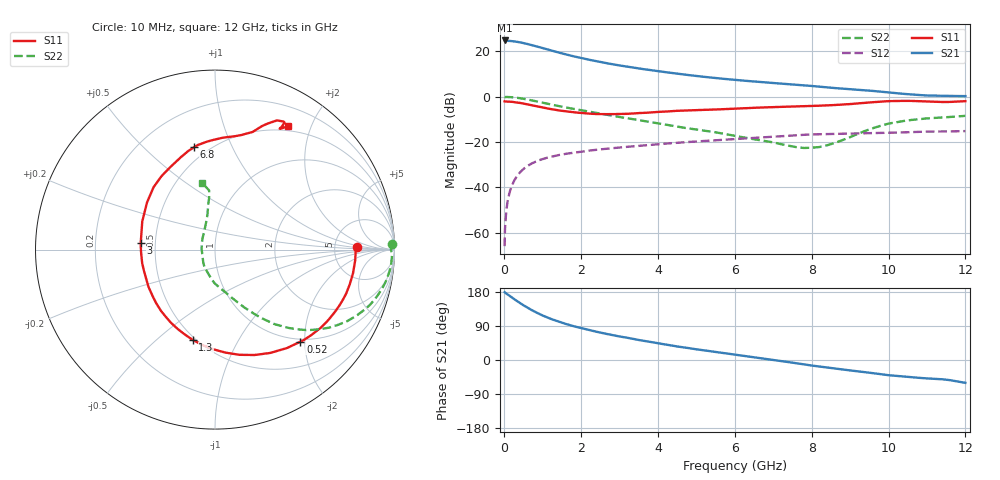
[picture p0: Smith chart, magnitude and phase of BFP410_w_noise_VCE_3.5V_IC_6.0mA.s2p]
! Infineon Technologies  Discrete & RF Semiconductors
! BFP410
! VCE =  3.5 V,  IC =  6.0 mA
! Common Emitter S-Parameters:  Nov 2015
# GHz  S  MA  R  50
!  f  S11  S21  S12  S22
! GHz  MAG  ANG  MAG  ANG  MAG  ANG  MAG  ANG
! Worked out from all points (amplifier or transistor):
!   243 points, 10 MHz to 12 GHz, reference 50 ohm
!   highest |S21| = 24.8 dB at 10 MHz (marker M1)
!   |S21| within 3 dB of that: start of sweep to 923.1 MHz
!   unconditionally stable (mu >= 1): start of sweep to 13.92 MHz; 2.918 GHz to end of sweep
!   at 240 MHz: K = 0.14, MSG = 31.1 dB, |S12| = -37.7 dB
!   at 1.84 GHz: K = 0.69, MSG = 21.2 dB, |S12| = -24.6 dB
!   at 12 GHz: K = 1.06, MAG = 6.2 dB, |S12| = -15.2 dB
!   lowest NFmin = 1.06 dB at 900 MHz
!   S11 on the Smith chart (normalised r, x): 10 MHz: 8.41, +0.67; 520 MHz: 0.95, -1.91; 1.3 GHz: 0.48, -0.66; 3 GHz: 0.41, +0.03; 6.8 GHz: 0.42, +0.72; 12 GHz: 0.44, +1.66
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0.01  0.7888 1.1  17.47 179.0  0.0005 12.8  0.9884 1.9
0.03  0.7833 -2.1  17.27 177.2  0.0017 73.0  0.9824 -0.6
0.085  0.781 -7.8  17.15 173.3  0.0047 81.0  0.9854 -3.6
0.195  0.7711 -18.1  16.89 165.4  0.0106 79.3  0.9741 -8.9
0.3  0.7524 -27.7  16.46 157.8  0.016 75.7  0.9541 -13.5
0.4  0.7323 -36.6  15.92 151.0  0.0208 72.0  0.9296 -17.7
0.52  0.6997 -47.1  15.16 143.2  0.0261 67.7  0.8939 -22.3
0.7  0.6528 -61.9  13.94 132.5  0.033 62.0  0.8358 -28.6
0.88  0.6058 -75.5  12.65 123.1  0.0388 57.4  0.7763 -33.8
1.1  0.5555 -91.0  11.22 113.1  0.0446 52.7  0.707 -39.2
1.3  0.5182 -103.9  10.07 105.2  0.0491 49.3  0.6508 -43.2
1.62  0.4729 -122.2  8.537 94.6  0.055 45.2  0.5746 -48.4
2.02  0.4353 -142.2  7.09 83.7  0.0616 41.5  0.5002 -53.2
2.5  0.4126 -164.6  5.846 72.4  0.0686 37.8  0.4226 -58.4
3  0.4155 175.2  4.902 62.1  0.0755 34.7  0.3565 -63.5
4.1  0.4652 143.0  3.573 42.5  0.0906 28.4  0.2494 -75.6
5  0.5062 126.1  2.865 28.2  0.1027 23.0  0.1884 -90.4
6.1  0.5488 110.3  2.314 12.8  0.117 16.3  0.1313 -109.2
6.8  0.5815 101.6  2.067 3.0  0.1278 11.9  0.1043 -126.7
8.2  0.6328 82.9  1.664 -17.2  0.1482 -0.6  0.0773 161.9
10.2  0.8034 63.1  1.198 -41.9  0.1613 -15.1  0.2728 97.4
12  0.7971 59.5  1.031 -60.3  0.174 -30.0  0.3775 101.1
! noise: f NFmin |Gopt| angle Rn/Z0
0.45  1.09  0.2  1  0.22
0.9  1.06  0.19  15  0.18
1.8  1.21  0.13  52  0.16
2.4  1.21  0.11  50  0.19
5.5  2.12  0.32  -125  0.21
10  3.36  0.67  -51  1.79
